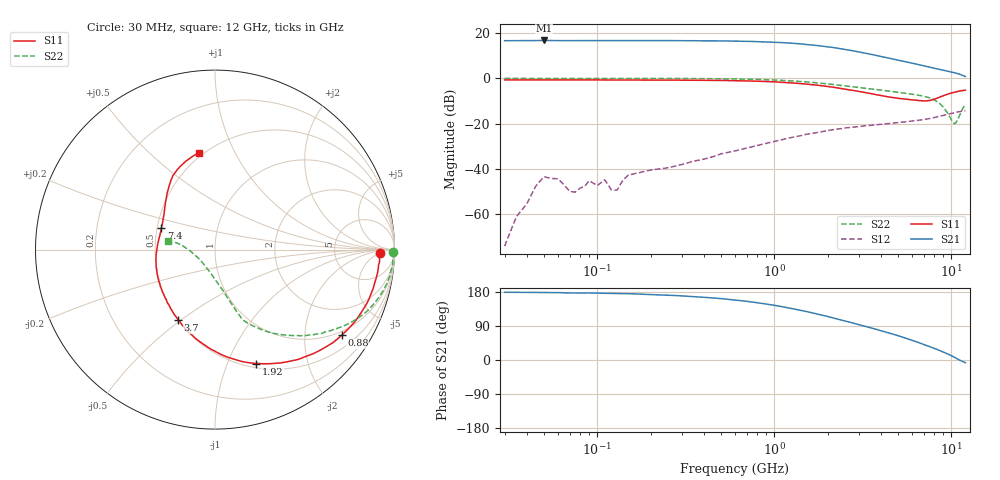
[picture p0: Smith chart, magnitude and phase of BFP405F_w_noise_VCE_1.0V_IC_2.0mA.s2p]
! Infineon Technologies  Discrete & RF Semiconductors
! BFP405F
! VCE =  1.0 V,  IC =  2.0 mA
! Common Emitter S-Parameters:  Nov 2015
# GHz  S  MA  R  50
!  f  S11  S21  S12  S22
! GHz  MAG  ANG  MAG  ANG  MAG  ANG  MAG  ANG
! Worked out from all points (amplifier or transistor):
!   239 points, 30 MHz to 12 GHz, reference 50 ohm
!   highest |S21| = 16.7 dB at 50 MHz (marker M1)
!   |S21| within 3 dB of that: start of sweep to 2.101 GHz
!   unconditionally stable (mu >= 1): start of sweep to 30.37 MHz; 3.909 GHz to end of sweep
!   at 300 MHz: K = 0.08, MSG = 27.3 dB, |S12| = -38.0 dB
!   at 1.88 GHz: K = 0.40, MSG = 18.8 dB, |S12| = -23.5 dB
!   at 12 GHz: K = 1.67, MAG = 2.8 dB, |S12| = -14.3 dB
!   lowest NFmin = 1.01 dB at 450 MHz
!   S11 on the Smith chart (normalised r, x): 30 MHz: 22, -5; 880 MHz: 0.87, -3.03; 1.92 GHz: 0.55, -1.27; 3.7 GHz: 0.50, -0.49; 7.4 GHz: 0.53, +0.14; 12 GHz: 0.47, +0.73
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0.03  0.9184 -1.2  6.726 178.8  0.0002 37.4  0.9938 -0.7
0.035  0.9175 -1.3  6.734 178.7  0.0009 117.8  0.994 -0.8
0.05  0.9188 -2.2  6.813 178.0  0.0068 120.0  0.9937 -1.0
0.06  0.9199 -2.3  6.753 177.8  0.0061 87.9  0.9937 -1.3
0.07  0.916 -2.8  6.758 176.9  0.0032 115.8  0.993 -1.4
0.085  0.9185 -3.4  6.753 176.8  0.0042 87.7  0.9944 -1.8
0.11  0.9184 -4.4  6.745 176.1  0.0058 95.5  0.9942 -2.4
0.13  0.9161 -5.2  6.76 175.4  0.0035 85.1  0.9947 -2.9
0.15  0.916 -5.8  6.8 175.1  0.0074 90.1  0.9925 -3.3
0.24  0.913 -9.4  6.773 171.4  0.0104 90.6  0.9915 -5.4
0.4  0.9031 -15.8  6.733 165.5  0.0165 85.7  0.9844 -8.9
0.6  0.8864 -23.5  6.601 158.2  0.0251 78.0  0.9666 -13.3
0.88  0.8519 -34.1  6.362 148.4  0.036 73.2  0.9333 -19.2
1.18  0.8045 -45.1  6.014 138.4  0.0472 67.7  0.8886 -25.0
1.64  0.7227 -61.1  5.42 124.4  0.061 59.8  0.8117 -32.6
1.92  0.6746 -70.2  5.047 117.0  0.0682 55.4  0.7655 -36.9
2.5  0.5804 -87.5  4.33 103.2  0.0804 48.3  0.6825 -44.7
3.7  0.4413 -117.7  3.233 81.9  0.0939 39.1  0.5687 -55.0
4.5  0.3856 -136.5  2.757 70.6  0.1015 35.9  0.52 -59.5
7.4  0.3212 158.4  1.786 36.7  0.1279 30.4  0.3792 -70.2
10.4  0.4924 115.3  1.325 7.3  0.1753 21.7  0.1002 -136.4
12  0.5455 99.7  1.097 -7.0  0.1926 15.5  0.267 169.3
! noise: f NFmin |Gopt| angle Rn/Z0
0.45  1.01  0.58  7  0.45
0.9  1.03  0.54  15  0.46
1.5  1.15  0.52  21  0.41
1.9  1.2  0.49  29  0.4
2.4  1.39  0.46  38  0.41
3  1.47  0.43  49  0.39
3.5  1.53  0.42  59  0.36
4.5  1.72  0.35  76  0.3
5.5  1.97  0.23  93  0.22
